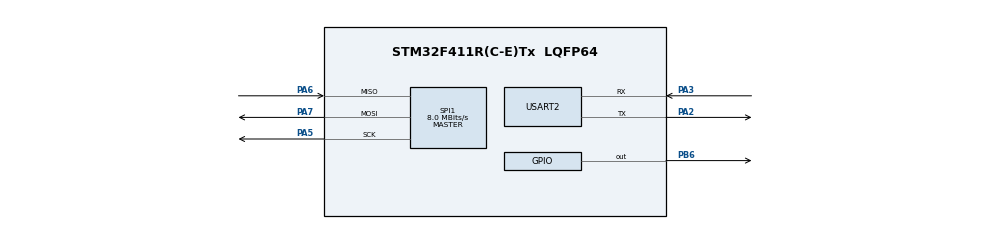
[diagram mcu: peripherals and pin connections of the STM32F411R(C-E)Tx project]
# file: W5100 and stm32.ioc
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Mcu.Family=STM32F4
Mcu.Name=STM32F411R(C-E)Tx
Mcu.Package=LQFP64
NVIC.PriorityGroup=NVIC_PRIORITYGROUP_4
PA2.Mode=Asynchronous
PA2.Signal=USART2_TX
PA3.Mode=Asynchronous
PA3.Signal=USART2_RX
PA5.Mode=Full_Duplex_Master
PA5.Signal=SPI1_SCK
PA6.Mode=Full_Duplex_Master
PA6.Signal=SPI1_MISO
PA7.Mode=Full_Duplex_Master
PA7.Signal=SPI1_MOSI
PB6.Signal=GPIO_Output
ProjectManager.HeapSize=0x200
ProjectManager.StackSize=0x400
ProjectManager.TargetToolchain=TrueSTUDIO
RCC.AHBFreq_Value=16000000
RCC.APB1Freq_Value=16000000
RCC.APB2Freq_Value=16000000
RCC.CortexFreq_Value=16000000
RCC.HSE_VALUE=25000000
RCC.HSI_VALUE=16000000
RCC.LSE_VALUE=32768
RCC.SYSCLKFreq_VALUE=16000000
RCC.VCOOutputFreq_Value=192000000
SPI1.CalculateBaudRate=8.0 MBits/s
SPI1.Direction=SPI_DIRECTION_2LINES
SPI1.Mode=SPI_MODE_MASTER
SPI1.VirtualType=VM_MASTER
USART2.VirtualMode=VM_ASYNC
board=custom

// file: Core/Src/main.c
/* USER CODE BEGIN Header */
/**
******************************************************************************
* @file : main.c
* @brief : Main program body
******************************************************************************
* @attention
*
* <h2><center>&copy; Copyright (c) 2021 STMicroelectronics.
* All rights reserved.</center></h2>
*
* This software component is licensed by ST under BSD 3-Clause license,
* the "License"; You may not use this file except in compliance with the
* License. You may obtain a copy of the License at:
* opensource.org/licenses/BSD-3-Clause
*
******************************************************************************
*/
/* USER CODE END Header */

#include "main.h"
#include "wizchip_conf.h"

/* USER CODE BEGIN Includes */
#include "socket.h"
#include <stdio.h>
#include <string.h>
#include "retarget.h"

#define HTTP_SOCKET     0
#define PORT_TCPS		5000
#define DATA_BUF_SIZE   2048
uint8_t gDATABUF[DATA_BUF_SIZE];
/* USER CODE END Includes */

SPI_HandleTypeDef hspi1;

UART_HandleTypeDef huart2;

/* USER CODE BEGIN PV */
uint8_t stat1;
uint8_t reqnr;
char Message[128];
/* USER CODE END PV */

void SystemClock_Config(void);
static void MX_GPIO_Init(void);
static void MX_SPI1_Init(void);
static void MX_USART2_UART_Init(void);

/* USER CODE BEGIN 0 */
wiz_NetInfo gWIZNETINFO = { .mac = {0x00,0x08,0xdc,0x78,0x91,0x71},
.ip = {192,168,177,27},
.sn = {255, 255, 255, 0},
.gw = {192, 168, 177, 1},
.dns = {0, 0, 0, 0},//168, 126, 63, 1
.dhcp = NETINFO_STATIC,
};

#define ETH_MAX_BUF_SIZE 2048
//uint16_t WIZ_Dest_PORT = 50001;
uint8_t destip[4] = {192,168,177,25};

void print_network_information(void);
/* USER CODE END PFP */

/* Private user code ---------------------------------------------------------*/
/* USER CODE BEGIN 0 */
void csEnable(void)
{
HAL_GPIO_WritePin(GPIOB, GPIO_PIN_6, GPIO_PIN_RESET);
}

void csDisable(void)
{
HAL_GPIO_WritePin(GPIOB, GPIO_PIN_6, GPIO_PIN_SET);
}

void spiWriteByte(uint8_t tx)
{

 uint8_t rx=0;
HAL_SPI_TransmitReceive(&hspi1, &tx, &rx,1, 10);
}

uint8_t spiReadByte(void)
{

uint8_t rx = 0, tx = 0xFF;
HAL_SPI_TransmitReceive(&hspi1, &tx, &rx, 1, 10);
return rx;

}
void W5500_Init(void)
{

	//unsigned char W5100S_AdrSet[2][4] = {{2,2,2,2},{2,2,2,2}};  //for 5100
	unsigned char W5500_AdrSet[2][8] = { { 2, 2, 2, 2, 2, 2, 2, 2 }, { 2, 2, 2, 2, 2, 2, 2, 2 } };//for 5500

	/* SPI method callback registration */
	reg_wizchip_spi_cbfunc(spiReadByte, spiWriteByte);
	/* CS function register */
	reg_wizchip_cs_cbfunc(csEnable,csDisable);

	/* W5500 Chip Initialization */
	if(ctlwizchip(CW_INIT_WIZCHIP,(void*)W5500_AdrSet) == -1)
	{
		printf("W5500 initialized fail.\r\n");
		while(1);
	}

}

/* USER CODE END 0 */

int main(void)
{

	/* MCU Configuration--------------------------------------------------------*/

	/* Reset of all peripherals, Initializes the Flash interface and the Systick. */

	/* USER CODE BEGIN Init */
	HAL_Init();
	/* USER CODE END Init */

	/* Configure the system clock */
	SystemClock_Config();

	/* Initialize all configured peripherals */
	MX_GPIO_Init();
	MX_SPI1_Init();
	MX_USART2_UART_Init();
	W5500_Init();
	/* USER CODE BEGIN 2 */
	RetargetInit(&huart2);

	printf("System start.\r\n");

	wizchip_setnetinfo(&gWIZNETINFO);
	HAL_Delay(1000);

	print_network_information();

	/* USER CODE END 2 */

	/* Infinite loop */

	while (1)
	{
		/* USER CODE BEGIN WHILE */
		printf("Creating socket...\r\n");
		stat1 = socket(HTTP_SOCKET, Sn_MR_TCP, 80, 0);
		if(stat1 != HTTP_SOCKET) printf("socket() failed, code = %d\r\n", stat1);
		else printf("Socket created, connecting...\r\n");

		stat1 = listen(HTTP_SOCKET);
		if(stat1 != SOCK_OK) printf("listen() failed, code = %d\r\n", stat1);
		else printf("listen() OK\r\n");

		while(getSn_SR(HTTP_SOCKET) == SOCK_LISTEN)
		{
			HAL_Delay(2);
		}

		printf("Input connection\r\n");
		if(getSn_SR(HTTP_SOCKET) != SOCK_ESTABLISHED) printf("Error socket status\r\n");

		uint8_t rIP[4];
		getsockopt(HTTP_SOCKET, SO_DESTIP, rIP);
		printf("IP:  %d.%d.%d.%d\r\n", rIP[0], rIP[1], rIP[2], rIP[3]);

		sprintf(Message, "input connection nr - %d", reqnr);

		send(0, (uint8_t*)Message, strlen(Message));

		disconnect(HTTP_SOCKET);

		printf("Closing socket.\r\n");
		close(HTTP_SOCKET);

		HAL_Delay(1000);
		reqnr++;
		/* USER CODE END WHILE */
	}

}

void SystemClock_Config(void)
{
RCC_OscInitTypeDef RCC_OscInitStruct = {0};
RCC_ClkInitTypeDef RCC_ClkInitStruct = {0};

 /** Configure the main internal regulator output voltage
*/
__HAL_RCC_PWR_CLK_ENABLE();
__HAL_PWR_VOLTAGESCALING_CONFIG(PWR_REGULATOR_VOLTAGE_SCALE1);
/** Initializes the CPU, AHB and APB busses clocks
*/
RCC_OscInitStruct.OscillatorType = RCC_OSCILLATORTYPE_HSI;
RCC_OscInitStruct.HSIState = RCC_HSI_ON;
RCC_OscInitStruct.HSICalibrationValue = RCC_HSICALIBRATION_DEFAULT;
RCC_OscInitStruct.PLL.PLLState = RCC_PLL_NONE;
if (HAL_RCC_OscConfig(&RCC_OscInitStruct) != HAL_OK)
{
Error_Handler();
}
/** Initializes the CPU, AHB and APB busses clocks
*/
RCC_ClkInitStruct.ClockType = RCC_CLOCKTYPE_HCLK|RCC_CLOCKTYPE_SYSCLK
|RCC_CLOCKTYPE_PCLK1|RCC_CLOCKTYPE_PCLK2;
RCC_ClkInitStruct.SYSCLKSource = RCC_SYSCLKSOURCE_HSI;
RCC_ClkInitStruct.AHBCLKDivider = RCC_SYSCLK_DIV1;
RCC_ClkInitStruct.APB1CLKDivider = RCC_HCLK_DIV1;
RCC_ClkInitStruct.APB2CLKDivider = RCC_HCLK_DIV1;

 if (HAL_RCC_ClockConfig(&RCC_ClkInitStruct, FLASH_LATENCY_0) != HAL_OK)
{
Error_Handler();
}
}

static void MX_SPI1_Init(void)
{

/* SPI1 parameter configuration*/
hspi1.Instance = SPI1;
hspi1.Init.Mode = SPI_MODE_MASTER;
hspi1.Init.Direction = SPI_DIRECTION_2LINES;
hspi1.Init.DataSize = SPI_DATASIZE_8BIT;
hspi1.Init.CLKPolarity = SPI_POLARITY_LOW;
hspi1.Init.CLKPhase = SPI_PHASE_1EDGE;
hspi1.Init.NSS = SPI_NSS_SOFT;
hspi1.Init.BaudRatePrescaler = SPI_BAUDRATEPRESCALER_2;
hspi1.Init.FirstBit = SPI_FIRSTBIT_MSB;
hspi1.Init.TIMode = SPI_TIMODE_DISABLE;
hspi1.Init.CRCCalculation = SPI_CRCCALCULATION_DISABLE;
hspi1.Init.CRCPolynomial = 10;
if (HAL_SPI_Init(&hspi1) != HAL_OK)
{
Error_Handler();
}

}

static void MX_USART2_UART_Init(void)
{

huart2.Instance = USART2;
huart2.Init.BaudRate = 115200;
huart2.Init.WordLength = UART_WORDLENGTH_8B;
huart2.Init.StopBits = UART_STOPBITS_1;
huart2.Init.Parity = UART_PARITY_NONE;
huart2.Init.Mode = UART_MODE_TX_RX;
huart2.Init.HwFlowCtl = UART_HWCONTROL_NONE;
huart2.Init.OverSampling = UART_OVERSAMPLING_16;
if (HAL_UART_Init(&huart2) != HAL_OK)
{
Error_Handler();
}

}

static void MX_GPIO_Init(void)
{
GPIO_InitTypeDef GPIO_InitStruct = {0};

 /* GPIO Ports Clock Enable */
__HAL_RCC_GPIOA_CLK_ENABLE();
__HAL_RCC_GPIOB_CLK_ENABLE();

 /*Configure GPIO pin Output Level */
HAL_GPIO_WritePin(GPIOB, GPIO_PIN_6, GPIO_PIN_RESET);

 /*Configure GPIO pin : PB6 */
GPIO_InitStruct.Pin = GPIO_PIN_6;
GPIO_InitStruct.Mode = GPIO_MODE_OUTPUT_PP;
GPIO_InitStruct.Pull = GPIO_NOPULL;
GPIO_InitStruct.Speed = GPIO_SPEED_FREQ_LOW;
HAL_GPIO_Init(GPIOB, &GPIO_InitStruct);

}

/* USER CODE BEGIN 4 */

void print_network_information(void)
{
uint8_t buff[50];
wizchip_getnetinfo(&gWIZNETINFO);
sprintf(buff,"Mac address: %02x:%02x:%02x:%02x:%02x:%02x\n\r",gWIZNETINFO.mac[0],gWIZNETINFO.mac[1],gWIZNETINFO.mac[2],gWIZNETINFO.mac[3],gWIZNETINFO.mac[4],gWIZNETINFO.mac[5]);
HAL_UART_Transmit(&huart2, (uint8_t*)buff, 30, 10);
sprintf(buff,"IP address : %d.%d.%d.%d\n\r",gWIZNETINFO.ip[0],gWIZNETINFO.ip[1],gWIZNETINFO.ip[2],gWIZNETINFO.ip[3]);
HAL_UART_Transmit(&huart2, (uint8_t*)buff, 30, 10);
printf("SN Mask : %d.%d.%d.%d\n\r",gWIZNETINFO.sn[0],gWIZNETINFO.sn[1],gWIZNETINFO.sn[2],gWIZNETINFO.sn[3]);
printf("Gate way : %d.%d.%d.%d\n\r",gWIZNETINFO.gw[0],gWIZNETINFO.gw[1],gWIZNETINFO.gw[2],gWIZNETINFO.gw[3]);
printf("DNS Server : %d.%d.%d.%d\n\r",gWIZNETINFO.dns[0],gWIZNETINFO.dns[1],gWIZNETINFO.dns[2],gWIZNETINFO.dns[3]);

}

/* USER CODE END 4 */

void Error_Handler(void)
{
}

/************************ (C) COPYRIGHT STMicroelectronics *****END OF FILE****/
